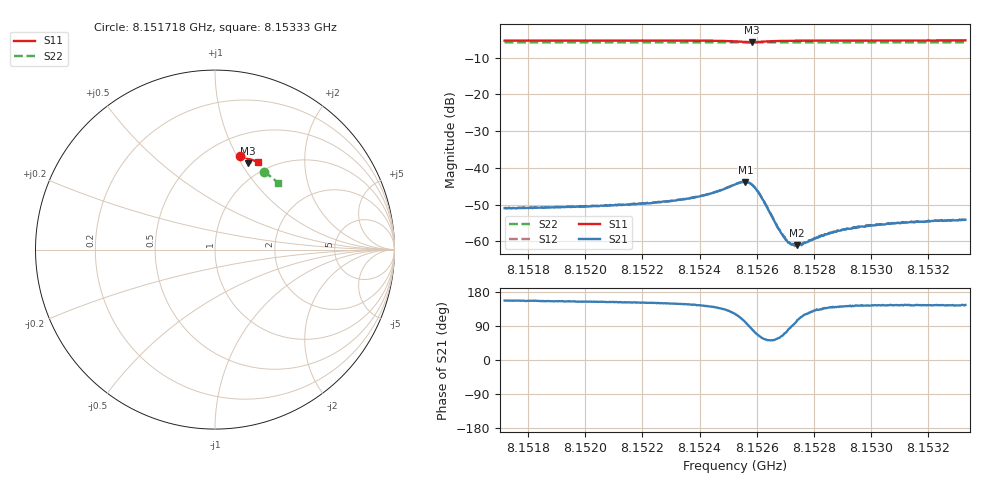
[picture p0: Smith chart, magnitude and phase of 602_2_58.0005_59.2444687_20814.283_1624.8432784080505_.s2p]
#  HZ  S  RI  R  50.00
! Rohde & Schwarz Vector Network Analyzer
! Rohde-Schwarz,ZNB20-2Port,1311601062101988,3.16
! Created: UTC 3/21/2024, 1:17:16 AM
! freq[Hz]  re:S11  im:S11  re:S21  im:S21  re:S12  im:S12  re:S22  im:S22
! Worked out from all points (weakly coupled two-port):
!   401 points, 8.151718 GHz to 8.15333 GHz, reference 50 ohm
!   highest |S21| = -43.81 dB at 8.15256 GHz (marker M1); lowest = -61.0 dB at 8.152742 GHz (marker M2)
!   lowest |S11| = -5.8 dB at 8.152584 GHz (marker M3), VSWR 3.12, Z = 41 + j53.6 ohm
!   |S11| at or under -10 dB: nowhere
!   |S22| runs from -5.8 to -5.8 dB; largest |S21 - S12| = 0.00013
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8.1517178e9  0.1386 0.522  -0.00261 0.00111  -0.00259 0.00117  0.272 0.4341
8.1519879e9  0.1575 0.5169  -0.00264 0.0013  -0.0027 0.00134  0.2864 0.4244
8.1522579e9  0.1772 0.5105  -0.00296 0.0017  -0.00297 0.00178  0.3003 0.414
8.1523426e9  0.1839 0.5077  -0.00315 0.00202  -0.00316 0.0021  0.3046 0.4107
8.1524111e9  0.1902 0.5041  -0.00338 0.00249  -0.00337 0.00256  0.308 0.408
8.1524635e9  0.1951 0.4997  -0.00358 0.00325  -0.00353 0.00329  0.3107 0.4059
8.152524e9  0.1988 0.4891  -0.0031 0.00508  -0.00305 0.00516  0.3136 0.403
8.1525603e9  0.1928 0.4803  -0.00109 0.00636  -0.00104 0.00639  0.3149 0.4013
8.1525844e9  0.1837 0.4805  0.000991 0.00578  0.00107 0.00581  0.3157 0.4006
8.1526086e9  0.1787 0.4875  0.00201 0.004  0.00207 0.00403  0.3168 0.4
8.1526288e9  0.1792 0.4934  0.0019 0.00268  0.00195 0.00268  0.3179 0.3994
8.1526772e9  0.1863 0.5003  0.000771 0.00125  0.000817 0.00123  0.3205 0.3977
8.1527013e9  0.1899 0.5013  0.000333 0.00101  0.000344 0.00101  0.3217 0.3967
8.1527175e9  0.1921 0.5016  8.24e-05 0.000926  0.000107 0.00093  0.3227 0.396
8.1527416e9  0.195 0.5016  -0.00023 0.00086  -0.000172 0.000875  0.3238 0.3951
8.1527618e9  0.1972 0.5014  -0.000415 0.000825  -0.000408 0.000846  0.3247 0.3942
8.152794e9  0.2006 0.5011  -0.000639 0.000836  -0.000641 0.000847  0.3264 0.3929
8.1528626e9  0.2065 0.4995  -0.00099 0.000877  -0.000978 0.00089  0.3297 0.3902
8.1528988e9  0.2096 0.4986  -0.00112 0.000906  -0.00113 0.000896  0.3317 0.3885
8.1529593e9  0.2143 0.497  -0.00126 0.000927  -0.00127 0.000975  0.3344 0.3858
8.1530641e9  0.2218 0.4943  -0.00141 0.001  -0.00143 0.00104  0.3393 0.3814
8.1533302e9  0.2396 0.4867  -0.00162 0.00113  -0.00159 0.00115  0.3516 0.3697
